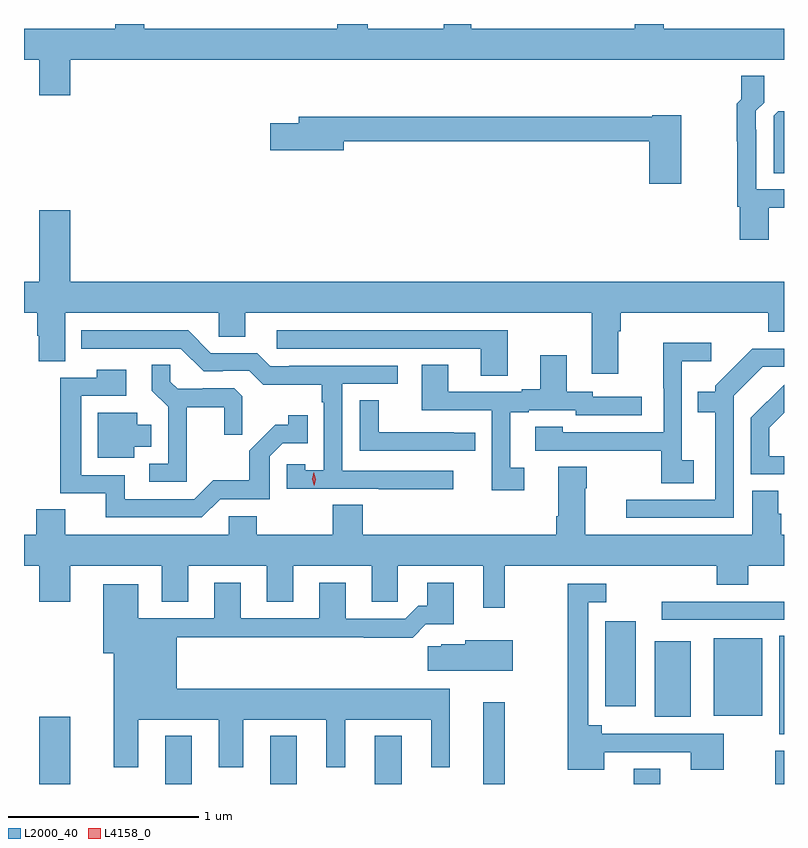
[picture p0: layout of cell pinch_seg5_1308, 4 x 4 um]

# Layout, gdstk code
import gdstk
lib = gdstk.Library(unit=1e-6, precision=1e-09)
def R(c, l, rs):  # rectangles x0, y0, x1, y1
    for r in rs: c.add(gdstk.rectangle(r[:2], r[2:], *l))
def A(c, l, x, y, w, h, nx, ny, dx, dy):  # array of equal rectangles
    R(c, l, [(x+i*dx, y+j*dy, x+i*dx+w, y+j*dy+h) for i in range(nx) for j in range(ny)])
def P(c, l, *ps):  # polygons
    for p in ps: c.add(gdstk.Polygon(p, *l))
L2000_40 = (2000, 40)
L4158_0 = (4158, 0)

pinch_seg5_1308 = lib.new_cell('pinch_seg5_1308')
A(pinch_seg5_1308, L2000_40, 309.527, 892.908, 0.14, 0.253, 3, 1, 0.552, 0)
R(pinch_seg5_1308, L2000_40, [(308.864,892.908,309.028,893.263), (311.201,892.908,311.315,893.338), (311.993,892.908,312.133,892.987), (312.737,892.908,312.784,893.083), (312.758,893.171,312.784,893.687), (312.104,893.261,312.292,893.659), (312.413,893.267,312.67,893.674), (311.843,893.316,312.004,893.764), (312.141,893.772,312.784,893.868)])
P(pinch_seg5_1308, L2000_40, [(309.028,896.72),(312.784,896.72),(312.784,896.884),(312.152,896.884),(312.152,896.908),(311.999,896.908),(311.999,896.884),(311.139,896.884),(311.139,896.908),(310.993,896.908),(310.993,896.884),(310.593,896.884),(310.593,896.908),(310.433,896.908),(310.433,896.884),(309.416,896.884),(309.416,896.908),(309.263,896.908),(309.263,896.884),(308.784,896.884),(308.784,896.72),(308.864,896.72),(308.864,896.532),(309.028,896.532)],
  [(312.703,895.94),(312.784,895.94),(312.784,896.037),(312.639,896.037),(312.639,896.351),(312.636,896.351),(312.636,896.451),(312.679,896.494),(312.679,896.635),(312.559,896.635),(312.559,896.511),(312.536,896.487),(312.536,896.29),(312.538,896.29),(312.538,895.947),(312.551,895.947),(312.551,895.773),(312.703,895.773)],
  [(312.784,896.448),(312.753,896.448),(312.729,896.424),(312.729,896.122),(312.784,896.122)],
  [(312.244,896.427),(312.09,896.427),(312.09,896.419),(310.229,896.419),(310.229,896.385),(310.08,896.385),(310.08,896.243),(310.468,896.243),(310.468,896.29),(312.074,896.29),(312.074,896.067),(312.244,896.067)],
  [(311.911,895.292),(311.924,895.292),(311.924,895.388),(312.701,895.388),(312.701,895.289),(312.784,895.289),(312.784,895.552),(309.028,895.552),(309.028,895.927),(308.864,895.927),(308.864,895.552),(308.784,895.552),(308.784,895.388),(308.854,895.388),(308.854,895.266),(308.861,895.266),(308.861,895.132),(309.001,895.132),(309.001,895.388),(309.81,895.388),(309.81,895.261),(309.949,895.261),(309.949,895.388),(311.771,895.388),(311.771,895.068),(311.911,895.068)],
  [(311.044,894.558),(310.458,894.558),(310.458,895.014),(310.75,895.014),(310.75,895.11),(310.18,895.11),(310.18,895.107),(310.08,895.107),(310.011,895.176),(309.768,895.176),(309.648,895.296),(309.086,895.296),(309.086,895.2),(309.609,895.2),(309.729,895.08),(309.83,895.08),(309.83,895.083),(309.969,895.083),(310.042,895.01),(310.35,895.01),(310.35,894.917),(310.362,894.917),(310.362,894.559),(310.263,894.559),(310.263,894.591),(310.167,894.591),(310.167,894.462),(310.651,894.462),(310.651,894.46),(311.044,894.46)],
  [(311.329,895.296),(310.113,895.296),(310.113,895.2),(311.189,895.2),(311.189,895.057),(311.329,895.057)],
  [(312.31,894.612),(312.246,894.612),(312.246,895.133),(312.4,895.133),(312.4,895.231),(312.148,895.231),(312.148,894.992),(312.15,894.992),(312.15,894.759),(311.619,894.759),(311.619,894.787),(311.475,894.787),(311.475,894.663),(311.833,894.663),(311.833,894.661),(312.138,894.661),(312.138,894.49),(312.31,894.49)],
  [(312.519,894.951),(312.672,895.104),(312.784,895.104),(312.784,895.2),(312.618,895.2),(312.423,895.005),(312.423,894.973),(312.331,894.973),(312.331,894.864),(312.422,894.864),(312.422,894.405),(311.955,894.405),(311.955,894.309),(312.519,894.309)],
  [(311.416,894.573),(311.344,894.573),(311.344,894.864),(311.44,894.864),(311.44,894.876),(311.688,894.876),(311.688,894.849),(312.034,894.849),(312.034,894.945),(311.778,894.945),(311.778,894.972),(311.641,894.972),(311.641,895.165),(311.501,895.165),(311.501,894.985),(311.405,894.985),(311.405,894.972),(311.017,894.972),(311.017,895.115),(310.877,895.115),(310.877,894.876),(311.247,894.876),(311.247,894.453),(311.416,894.453)],
  [(309.641,894.89),(309.838,894.89),(309.838,894.747),(309.932,894.747),(309.932,894.949),(309.891,894.99),(309.726,894.99),(309.726,894.987),(309.592,894.987),(309.555,895.024),(309.555,895.115),(309.457,895.115),(309.457,894.979),(309.543,894.893),(309.543,894.594),(309.444,894.594),(309.444,894.498),(309.641,894.498)],
  [(309.816,894.408),(310.077,894.408),(310.077,894.633),(310.146,894.702),(310.277,894.702),(310.277,894.85),(310.176,894.85),(310.176,894.8),(310.106,894.8),(309.969,894.662),(309.969,894.507),(309.78,894.507),(309.681,894.408),(309.313,894.408),(309.313,894.534),(309.084,894.534),(309.084,894.951),(309.322,894.951),(309.322,895.087),(309.166,895.087),(309.166,895.047),(308.976,895.047),(308.976,894.438),(309.215,894.438),(309.215,894.312),(309.72,894.312)],
  [(312.784,894.634),(312.706,894.634),(312.706,894.784),(312.784,894.862),(312.784,895.01),(312.609,894.835),(312.609,894.537),(312.784,894.537)],
  [(311.158,894.758),(311.045,894.758),(311.045,894.759),(310.65,894.759),(310.65,894.929),(310.551,894.929),(310.551,894.663),(311.158,894.663)],
  [(309.364,894.683),(309.454,894.683),(309.454,894.799),(309.379,894.799),(309.379,894.862),(309.173,894.862),(309.173,894.626),(309.364,894.626)],
  [(311.315,894.056),(312.431,894.056),(312.431,893.957),(312.596,893.957),(312.596,894.056),(312.784,894.056),(312.784,894.22),(312.77,894.22),(312.77,894.33),(312.755,894.33),(312.755,894.452),(312.617,894.452),(312.617,894.22),(311.737,894.22),(311.737,894.464),(311.745,894.464),(311.745,894.577),(311.597,894.577),(311.597,894.316),(311.585,894.316),(311.585,894.22),(310.568,894.22),(310.568,894.377),(310.408,894.377),(310.408,894.22),(310.008,894.22),(310.008,894.318),(309.861,894.318),(309.861,894.22),(309.001,894.22),(309.001,894.353),(308.849,894.353),(308.849,894.22),(308.784,894.22),(308.784,894.056),(308.864,894.056),(308.864,893.868),(309.028,893.868),(309.028,894.056),(309.509,894.056),(309.509,893.866),(309.649,893.866),(309.649,894.056),(310.061,894.056),(310.061,893.866),(310.201,893.866),(310.201,894.056),(310.613,894.056),(310.613,893.866),(310.752,893.866),(310.752,894.056),(311.201,894.056),(311.201,893.835),(311.315,893.835)],
  [(309.385,893.246),(309.809,893.246),(309.809,892.995),(309.937,892.995),(309.937,893.246),(310.376,893.246),(310.376,892.995),(310.474,892.995),(310.474,893.246),(310.928,893.246),(310.928,892.995),(311.026,892.995),(311.026,893.41),(309.589,893.41),(309.589,893.68),(310.573,893.68),(310.573,893.678),(310.829,893.678),(310.899,893.748),(311.047,893.748),(311.047,893.968),(310.907,893.968),(310.907,893.845),(310.858,893.845),(310.791,893.778),(310.477,893.778),(310.477,893.968),(310.337,893.968),(310.337,893.781),(309.925,893.781),(309.925,893.968),(309.785,893.968),(309.785,893.781),(309.385,893.781),(309.385,893.959),(309.2,893.959),(309.2,893.597),(309.257,893.597),(309.257,892.995),(309.385,892.995)],
  [(311.839,893.076),(312.293,893.076),(312.293,892.982),(312.466,892.982),(312.466,893.172),(311.824,893.172),(311.824,893.218),(311.754,893.218),(311.754,893.865),(311.848,893.865),(311.848,893.961),(311.646,893.961),(311.646,892.982),(311.839,892.982)],
  [(311.356,893.665),(311.106,893.665),(311.106,893.644),(310.98,893.644),(310.98,893.633),(310.908,893.633),(310.908,893.504),(311.356,893.504)])
P(pinch_seg5_1308, L4158_0, [(310.311,894.477),(310.311,894.478),(310.3,894.513),(310.309,894.549),(310.31,894.549),(310.31,894.549),(310.32,894.513),(310.312,894.478)])

lib.write_gds('pinch_seg5_1308.gds')
